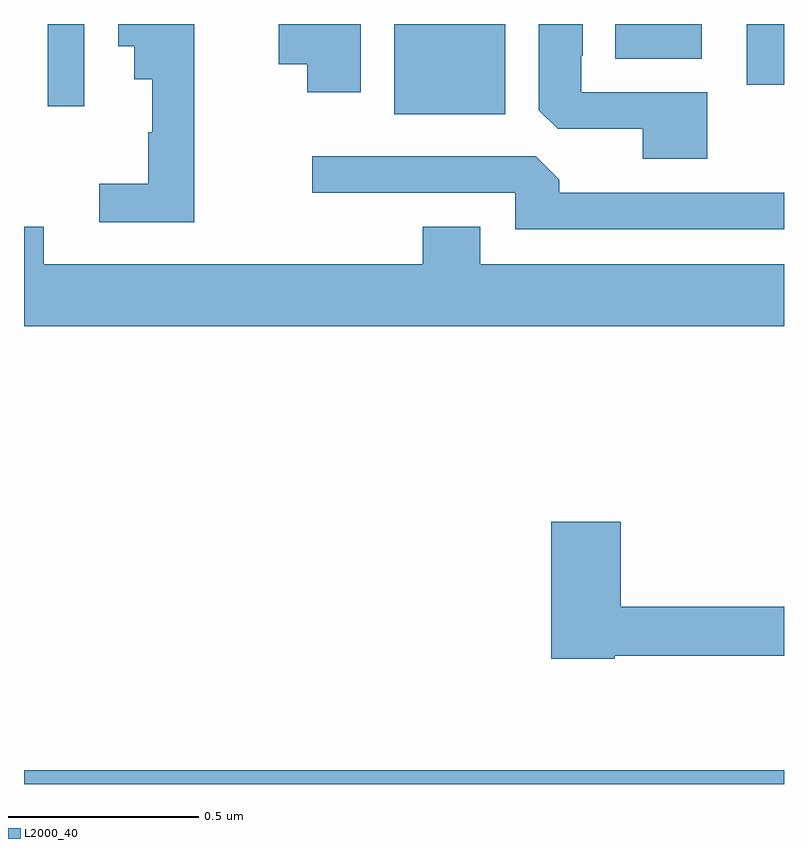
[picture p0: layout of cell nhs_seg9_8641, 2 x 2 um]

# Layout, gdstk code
import gdstk
lib = gdstk.Library(unit=1e-6, precision=1e-09)
def R(c, l, rs):  # rectangles x0, y0, x1, y1
    for r in rs: c.add(gdstk.rectangle(r[:2], r[2:], *l))
def P(c, l, *ps):  # polygons
    for p in ps: c.add(gdstk.Polygon(p, *l))
L2000_40 = (2000, 40)

nhs_seg9_8641 = lib.new_cell('nhs_seg9_8641')
R(nhs_seg9_8641, L2000_40, [(219,1244.5,221,1244.536), (219.974,1246.262,220.267,1246.5), (219.063,1246.284,219.159,1246.5), (220.902,1246.34,221,1246.5), (220.556,1246.409,220.783,1246.5)])
P(nhs_seg9_8641, L2000_40, [(219.886,1246.5),(219.671,1246.5),(219.671,1246.394),(219.745,1246.394),(219.745,1246.32),(219.886,1246.32)],
  [(220.798,1246.32),(220.467,1246.32),(220.467,1246.417),(220.471,1246.417),(220.471,1246.5),(220.355,1246.5),(220.355,1246.273),(220.404,1246.224),(220.628,1246.224),(220.628,1246.145),(220.798,1246.145)],
  [(219.448,1246.5),(219.248,1246.5),(219.248,1246.442),(219.29,1246.442),(219.29,1246.355),(219.338,1246.355),(219.338,1246.215),(219.327,1246.215),(219.327,1246.079),(219.198,1246.079),(219.198,1245.978),(219.448,1245.978)],
  [(221,1246.056),(220.409,1246.056),(220.409,1246.09),(220.347,1246.152),(219.759,1246.152),(219.759,1246.056),(220.293,1246.056),(220.293,1245.96),(221,1245.96)],
  [(221,1245.868),(220.201,1245.868),(220.201,1245.967),(220.049,1245.967),(220.049,1245.868),(219.052,1245.868),(219.052,1245.966),(219,1245.966),(219,1245.704),(221,1245.704)],
  [(220.554,1244.838),(221,1244.838),(221,1244.966),(220.571,1244.966),(220.571,1245.19),(220.388,1245.19),(220.388,1244.83),(220.554,1244.83)])

lib.write_gds('nhs_seg9_8641.gds')
